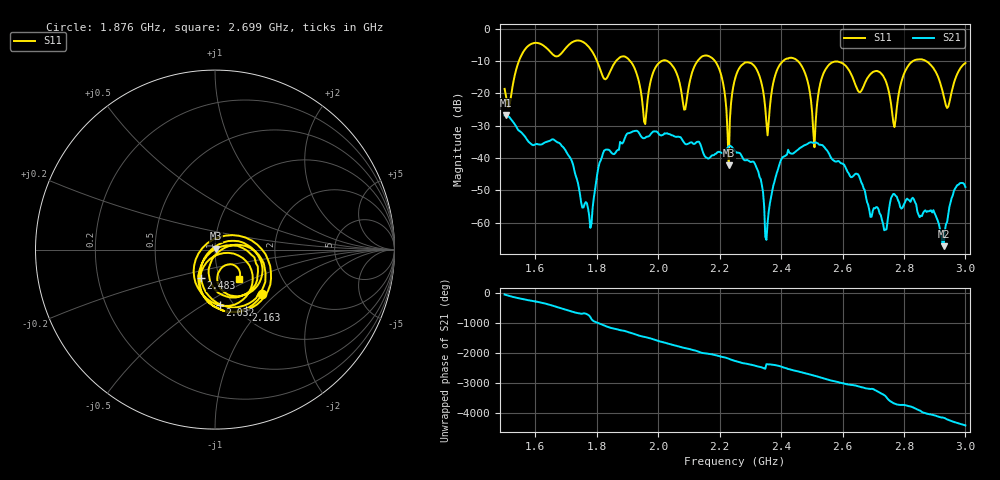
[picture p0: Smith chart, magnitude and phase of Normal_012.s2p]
# HZ S RI R 50
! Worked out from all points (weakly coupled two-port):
!   404 points, 1.5 GHz to 3 GHz, reference 50 ohm
!   highest |S21| = -26.76 dB at 1.504 GHz (marker M1); lowest = -67.3 dB at 2.929 GHz (marker M2)
!   lowest |S11| = -42.2 dB at 2.23 GHz (marker M3), VSWR 1.02, Z = 50.6 + j0.516 ohm
!   |S11| at or under -10 dB: 2.185 GHz to 2.407 GHz (222 MHz wide, 9.67 % of centre); 2.455 GHz to 2.829 GHz (374.6 MHz wide, 14.2 % of centre); 2.872 GHz to end of sweep (the widest 3 of 7)
!   S12 and S22 are empty: the file has one direction only
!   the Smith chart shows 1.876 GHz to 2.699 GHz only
!   S11 on the Smith chart (normalised r, x): 1.876 GHz: 1.43, -0.83; 2.032 GHz: 0.87, -0.59; 2.163 GHz: 1.07, -0.85; 2.483 GHz: 0.81, -0.27; 2.699 GHz: 1.24, -0.42
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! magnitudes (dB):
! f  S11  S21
! 1.5 GHz  -18.6  -26.8
! 1.504 GHz  -20.4  -26.8
! 1.753 GHz  -4.0  -55.4
! 1.876 GHz  -8.8  -35.0
! 1.958 GHz  -29.5  -33.8
! 2.002 GHz  -10.6  -32.7
! 2.032 GHz  -10.1  -32.5
! 2.088 GHz  -24.9  -35.7
! 2.163 GHz  -8.4  -40.2
! 2.23 GHz  -42.2  -36.4
! 2.252 GHz  -14.9  -38.1
! 2.311 GHz  -11.4  -41.3
! 2.352 GHz  -29.1  -65.3
! 2.404 GHz  -10.2  -39.8
! 2.483 GHz  -15.0  -35.8
! 2.501 GHz  -26.0  -35.3
! 2.561 GHz  -10.8  -39.6
! 2.699 GHz  -13.4  -56.4
! 2.751 GHz  -19.4  -56.4
! 2.855 GHz  -9.5  -57.9
! 2.929 GHz  -20.8  -67.3
! 3 GHz  -10.6  -49.0
